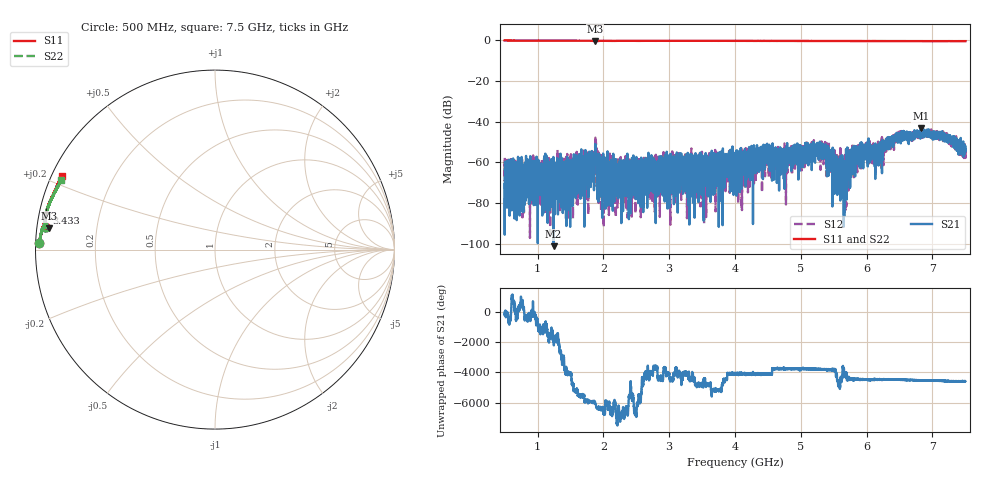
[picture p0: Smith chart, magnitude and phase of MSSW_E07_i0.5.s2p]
!Keysight Technologies,M9374A,MY55442783,A.12.55.05
!Date: Thursday, May 20, 2021 16:36:03
!Correction: S11(Full 2 Port(1,2))
!S21(Full 2 Port(1,2))
!S12(Full 2 Port(1,2))
!S22(Full 2 Port(1,2))
!S2P File: Measurements: S11, S21, S12, S22:
# Hz S  RI  R 50
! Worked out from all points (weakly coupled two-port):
!   7001 points, 500 MHz to 7.5 GHz, reference 50 ohm
!   highest |S21| = -43.39 dB at 6.822 GHz (marker M1); lowest = -101.2 dB at 1.244 GHz (marker M2)
!   lowest |S11| = -0.6 dB at 1.871 GHz (marker M3), VSWR 27.55, Z = 1.82 + j3.21 ohm
!   |S11| at or under -10 dB: nowhere
!   |S22| runs from -0.7 to -0.2 dB; largest |S21 - S12| = 0.0048
!   S11 on the Smith chart (normalised r, x): 500 MHz: 0.01, +0.02; 3.433 GHz: 0.02, +0.11; 7.5 GHz: 0.03, +0.23
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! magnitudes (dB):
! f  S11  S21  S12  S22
! 500 MHz  -0.2  -70.7  -65.5  -0.2
! 1.244 GHz  -0.2  -101.2  -69.2  -0.2
! 1.667 GHz  -0.3  -66.1  -71.2  -0.3
! 1.871 GHz  -0.6  -56.1  -63.7  -0.6
! 1.984 GHz  -0.3  -72.6  -63.0  -0.3
! 2.071 GHz  -0.3  -63.0  -63.5  -0.4
! 2.834 GHz  -0.3  -59.2  -60.7  -0.3
! 3.433 GHz  -0.3  -60.8  -65.4  -0.3
! 4 GHz  -0.4  -63.9  -61.1  -0.4
! 4.469 GHz  -0.4  -54.3  -53.4  -0.4
! 4.731 GHz  -0.4  -57.7  -65.3  -0.4
! 5.167 GHz  -0.4  -53.3  -53.5  -0.4
! 5.397 GHz  -0.4  -66.9  -54.4  -0.4
! 5.547 GHz  -0.4  -58.5  -65.3  -0.4
! 5.656 GHz  -0.4  -76.3  -59.9  -0.4
! 5.814 GHz  -0.5  -53.0  -53.9  -0.4
! 6.009 GHz  -0.5  -52.1  -53.7  -0.5
! 6.137 GHz  -0.5  -61.2  -57.3  -0.4
! 6.334 GHz  -0.5  -53.6  -49.8  -0.5
! 6.822 GHz  -0.5  -43.4  -44.2  -0.5
! 7.187 GHz  -0.5  -46.7  -47.0  -0.5
! 7.5 GHz  -0.5  -52.4  -55.2  -0.5
